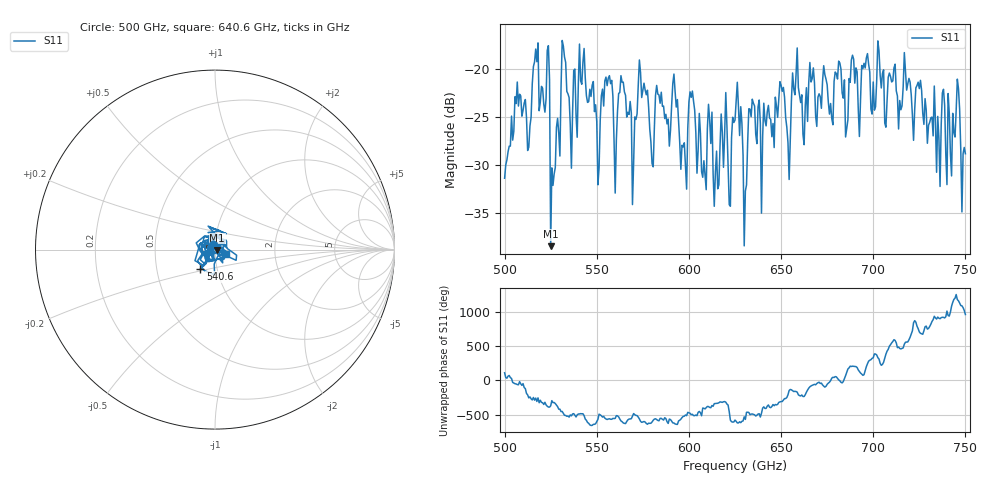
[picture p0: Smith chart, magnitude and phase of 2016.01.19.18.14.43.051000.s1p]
!Created with skrf (http://scikit-rf.org).
# GHz S RI R 50.0
!freq ReS11 ImS11
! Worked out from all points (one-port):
!   401 points, 500 GHz to 750 GHz, reference 50 ohm
!   lowest |S11| = -38.4 dB at 525 GHz (marker M1), VSWR 1.02, Z = 51.2 - j0.194 ohm
!   |S11| at or under -10 dB: start of sweep to end of sweep
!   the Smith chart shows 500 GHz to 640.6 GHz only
!   S11 on the Smith chart (normalised r, x): 500 GHz: 0.98, +0.05; 540.6 GHz: 0.83, -0.18; 640.6 GHz: 1.13, -0.06
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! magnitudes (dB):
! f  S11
! 500 GHz  -31.4
! 506.9 GHz  -21.4
! 513.1 GHz  -28.2
! 516.9 GHz  -18.0
! 523.1 GHz  -18.1
! 525 GHz  -38.4
! 526.2 GHz  -32.1
! 531.2 GHz  -17.1
! 540.6 GHz  -17.4
! 550.6 GHz  -32.1
! 562.5 GHz  -22.5
! 570 GHz  -29.8
! 573.8 GHz  -20.4
! 580 GHz  -29.9
! 593.8 GHz  -23.2
! 597.5 GHz  -27.7
! 601.9 GHz  -22.3
! 608.1 GHz  -29.6
! 611.2 GHz  -25.3
! 615 GHz  -28.6
! 625 GHz  -25.3
! 630.6 GHz  -32.7
! 633.8 GHz  -25.0
! 640.6 GHz  -23.6
! 656.2 GHz  -20.4
! 687.5 GHz  -21.4
! 718.8 GHz  -21.6
! 750 GHz  -28.8
